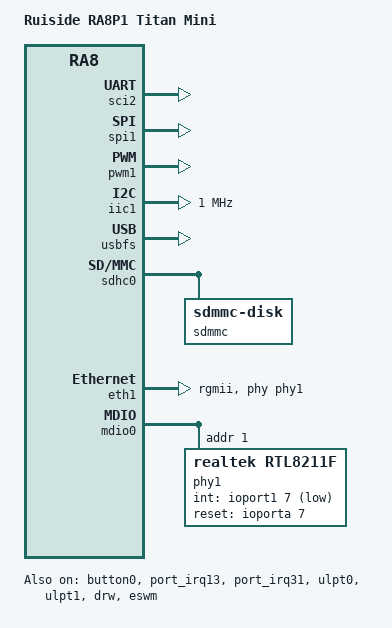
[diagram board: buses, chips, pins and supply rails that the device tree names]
/*
 * SPDX-FileCopyrightText: Copyright The Zephyr Project Contributors
 * SPDX-License-Identifier: Apache-2.0
 */

/dts-v1/;

#include <renesas/ra/ra8/r7ka8p1kflcac_cm85.dtsi>
#include <zephyr/dt-bindings/pwm/pwm.h>
#include "ra8p1_titan_mini.dtsi"

/ {
	model = "Ruiside RA8P1 Titan Mini";
	compatible = "ruiside,ra8p1-titan-mini", "renesas,ra8p1", "renesas,ra8";

	chosen {
		zephyr,console = &uart2;
		zephyr,shell-uart = &uart2;
		zephyr,sram = &sram0;
		zephyr,flash = &code_mram_cm85;
		zephyr,flash-controller = &mram_ctrl;
		zephyr,code-partition = &slot0_partition;
		zephyr,entropy = &trng;
	};

	aliases {
		led0 = &led1;
		sw0 = &button0;
		mipi-dsi = &mipi_dsi;
		sdhc0 = &sdhc0;
	};
};

&button0 {
	status = "okay";
};

&sci2 {
	pinctrl-0 = <&sci2_default>;
	pinctrl-names = "default";
	interrupts = <0 1>, <1 1>, <2 1>, <3 1>;
	interrupt-names = "rxi", "txi", "tei", "eri";
	status = "okay";

	uart2: uart {
		current-speed = <115200>;
		status = "okay";
	};
};

&sci1 {
	pinctrl-0 = <&sci1_default>;
	pinctrl-names = "default";
	interrupts = <4 1>, <5 1>, <6 1>, <7 1>;
	interrupt-names = "rxi", "txi", "tei", "eri";

	i2c1: i2c {
		sda-output-delay = <300>;
		noise-filter-clock-select = <1>;
		bit-rate-modulation;
	};
};

&spi1 {
	pinctrl-0 = <&spi1_default>;
	pinctrl-names = "default";
	interrupts = <8 1>, <9 1>, <10 1>, <11 1>;
	interrupt-names = "rxi", "txi", "tei", "eri";
	status = "okay";
};

&pwm1 {
	pinctrl-0 = <&pwm1_default>;
	interrupts = <12 1>, <13 1>;
	interrupt-names = "gtioca", "overflow";
	pinctrl-names = "default";
	status = "okay";
};

&iic1 {
	#address-cells = <1>;
	#size-cells = <0>;
	clock-frequency = <I2C_BITRATE_FAST_PLUS>;
	pinctrl-0 = <&iic1_default>;
	pinctrl-names = "default";
	interrupts = <14 1>, <15 1>, <16 1>, <17 1>;
	interrupt-names = "rxi", "txi", "tei", "eri";
	status = "okay";
};

&port_irq13 {
	interrupts = <18 12>;
	status = "okay";
};

// for phy interrupt
&port_irq31 {
	interrupts = <23 12>;
	status = "okay";
};

&ulpt0 {
	interrupts = <19 1>;
	interrupt-names = "ulpti";
	status = "okay";

	timer {
		status = "okay";
	};
};

&ulpt1 {
	status = "okay";

	timer {
		status = "okay";
	};
};

&pwm12 {
	pinctrl-0 = <&pwm12_default>;
	interrupts = <20 1>, <21 1>;
	interrupt-names = "gtioca", "overflow";
	pinctrl-names = "default";

	cam_clock: pwmclock {
		compatible = "pwm-clock";
		status = "disabled";
		#clock-cells = <1>;
		pwms = <&pwm12 0 PWM_KHZ(12000) PWM_POLARITY_NORMAL>;
	};
};

&ceu {
	pinctrl-0 = <&ceu_default>;
	pinctrl-names = "default";
	interrupts = <22 1>;
	interrupt-names = "ceui";
	clocks = <&pclka MSTPC 16>, <&cam_clock 0>;
	clock-names = "pclk", "cam-xclk";
	burst-transfer = <256>;
};

&usbfs {
	interrupts = <32 12>, <33 12>;
	interrupt-names = "usbfs-i", "usbfs-r";
	status = "okay";

	zephyr_udc0: udc {
		status = "okay";
	};
};

&code_mram_cm85 {
	partitions {
		ranges;
		#address-cells = <1>;
		#size-cells = <1>;

		boot_partition: partition@0 {
			compatible = "zephyr,mapped-partition";
			label = "mcuboot";
			reg = <0x0 DT_SIZE_K(64)>;
		};

		slot0_partition: partition@10000 {
			compatible = "zephyr,mapped-partition";
			label = "image-0";
			reg = <0x10000 DT_SIZE_K(344)>;
		};

		slot1_partition: partition@66000 {
			compatible = "zephyr,mapped-partition";
			label = "image-1";
			reg = <0x66000 DT_SIZE_K(344)>;
		};

		storage_partition: partition@bc000 {
			compatible = "zephyr,mapped-partition";
			label = "storage";
			reg = <0xbc000 DT_SIZE_K(16)>;
		};
	};
};

&lcdif {
	interrupts = <30 1>;
	interrupt-names = "line";
};

&drw {
	interrupt-names = "drw";
	interrupts = <31 12>;
	status = "okay";
};

zephyr_lcdif: &lcdif {};

&sdhc0 {	
	interrupt-names = "accs", "card", "dma-req";
	interrupts = <84 12>, <85 12>, <86 12>;
	pinctrl-0 = <&sdhc0_default>;
	pinctrl-names = "default";
	status = "okay";

	sdmmc {
		compatible = "zephyr,sdmmc-disk";
		disk-name = "SD";
		status = "okay";
	};
};

&eswm {
	interrupts = <24 1>;
	interrupt-names = "gwdi";
	status = "okay";
};

&eth1 {
	phy-connection-type = "rgmii";
	local-mac-address = [74 90 50 01 02 04];
	phy-clock-type = "xtal";
	phy-handle = <&phy1>;
	pinctrl-0 = <&eth1_default>;
	pinctrl-names = "default";
	status = "okay";
	// txq-len = <16>;
	// rxq-len = <16>;
	// txb-num = <32>;
	// rxb-num = <32>;
};

&mdio0 {
	pinctrl-0 = <&mdio0_default>;
	pinctrl-names = "default";
	status = "okay";

	phy1: phy@1 {
		compatible = "realtek,rtl8211f";
		reg = <1>;
		int-gpios = <&ioport1 7 GPIO_ACTIVE_LOW>;
		reset-gpios = <&ioporta 7 GPIO_ACTIVE_HIGH>;
		realtek,rgmii-delay = "rxid";
		status = "okay";
	};
};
